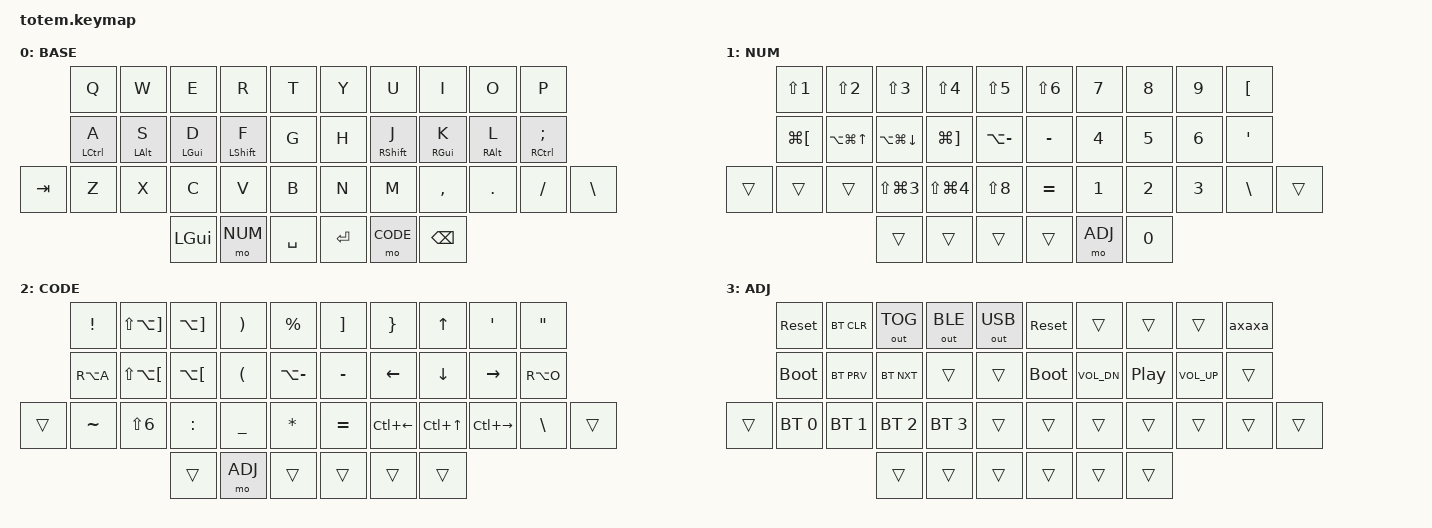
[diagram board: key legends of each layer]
//
//                                                        ▀▀▀▀▀     ▀▀▀▀▀          ▀▀█▀▀
//                                                        ▄▀▀▀▄  ▄  ▄▀▀▀▄  ▄  ▄▀▀▀▄  █  ▄▀▀▀▄
//                                                        █   █  █  █   █  █  █   █  █  █   █
//                                                         ▀▀▀   █   ▀▀▀   █   ▀▀▀   ▀   ▀▀▀
//                                                               █      ▄▄▄█▄▄▄    █   █  
//                                                               ▀      █  █  █     █▄█
//                                                             ▀▀▀▀▀    █  █  █      ▀
//                                                                      ▀  ▀  ▀
//
// ▄▄▄▄▄▄▄▄▄▄▄▄▄▄▄▄▄▄▄▄▄▄▄▄▄▄▄▄▄▄▄▄▄▄▄▄▄▄▄▄▄▄▄▄▄▄▄▄▄▄▄▄▄▄▄▄▄▄▄▄▄▄▄▄▄▄▄▄▄▄▄▄▄▄▄▄▄▄▄▄▄▄▄▄▄▄▄▄▄▄▄▄▄▄▄▄▄▄▄▄▄▄▄▄▄▄▄▄▄▄▄▄▄▄▄▄▄▄▄▄▄▄▄▄▄▄▄▄▄▄▄▄▄▄▄▄▄▄▄▄▄▄▄▄▄▄▄▄▄
       

#include <behaviors.dtsi>
#include <dt-bindings/zmk/keys.h>
#include <dt-bindings/zmk/bt.h>
#include <dt-bindings/zmk/outputs.h>

#define BASE 0
#define NUM  1
#define CODE  2
#define ADJ  3

&mt {
  quick-tap-ms = <100>;
  global-quick-tap;
  flavor = "tap-preferred";
  tapping-term-ms = <170>;
};

/ {
     combos {
            compatible = "zmk,combos";
            combo_esc {
                timeout-ms = <50>;
                key-positions = <0 1>;
                bindings = <&kp ESC>;
            };
            combo_change_lang {
                timeout-ms = <50>;
                key-positions = <2 3>;
                bindings = <&change_lang>;
            };
    };

    macros {
        axaxa: axaxa {
            label = "axaxa";
            compatible = "zmk,behavior-macro";
            #binding-cells = <0>;
            bindings
                = <&macro_tap &kp F &kp LBKT &kp F &kp LBKT &kp F &kp LBKT &kp F &kp LBKT &kp F &kp LBKT>
                ;
        };
        change_lang: change_lang {
            label = "change_lang";
            compatible = "zmk,behavior-macro";
            #binding-cells = <0>;
                bindings
                = <&macro_press &kp LGUI>
                , <&macro_tap &kp SPACE>
                , <&macro_release &kp LGUI>
                ;
        };
    };

        keymap {
                compatible = "zmk,keymap";
// ▄▄▄▄▄▄▄▄▄▄▄▄▄▄▄▄▄▄▄▄▄▄▄▄▄▄▄▄▄▄▄▄▄▄▄▄▄▄▄▄▄▄▄▄▄▄▄▄▄▄▄▄▄▄▄▄▄▄▄▄▄▄▄▄▄▄▄▄▄▄▄▄▄▄▄▄▄▄▄▄▄▄▄▄▄▄▄▄▄▄▄▄▄▄▄▄▄▄▄▄▄▄▄▄▄▄▄▄▄▄▄▄▄▄▄▄▄▄▄▄▄▄▄▄▄▄▄▄▄▄▄▄▄▄▄▄▄▄▄▄▄▄▄▄▄▄▄▄▄

                base_layer {
// ┏━━━━━━━━━━━━━━━━━━━━━━━━━━━━━━━━━━━━━━━┓
label= "BASE"                              ;
// ┗━━━━━━━━━━━━━━━━━━━━━━━━━━━━━━━━━━━━━━━┛
//             ┏━━━━━━━━━━━┳━━━━━━━━━━━┳━━━━━━━━━━━┳━━━━━━━━━━━┳━━━━━━━━━━━┓   ┏━━━━━━━━━━━┳━━━━━━━━━━━┳━━━━━━━━━━━┳━━━━━━━━━━━┳━━━━━━━━━━━┓
//             ┃     Q     ┃     W     ┃     F     ┃     P     ┃     G     ┃   ┃     J     ┃     L     ┃     U     ┃     Y     ┃     ;     ┃
//             ┣━━━━━━━━━━━╋━━━━━━━━━━━╋━━━━━━━━━━━╋━━━━━━━━━━━╋━━━━━━━━━━━┫   ┣━━━━━━━━━━━╋━━━━━━━━━━━╋━━━━━━━━━━━╋━━━━━━━━━━━╋━━━━━━━━━━━┫
//             ┃     A     ┃     R     ┃     S     ┃     T     ┃     D     ┃   ┃     H     ┃     N     ┃     E     ┃     I     ┃     O     ┃
// ┏━━━━━━━━━━━╋━━━━━━━━━━━╋━━━━━━━━━━━╋━━━━━━━━━━━╋━━━━━━━━━━━╋━━━━━━━━━━━┫   ┣━━━━━━━━━━━╋━━━━━━━━━━━╋━━━━━━━━━━━╋━━━━━━━━━━━╋━━━━━━━━━━━╋━━━━━━━━━━━┓
// ┃     Q     ┃     Z     ┃     X     ┃     C     ┃     V     ┃     B     ┃   ┃     K     ┃     M     ┃     ,     ┃     .     ┃     /     ┃     \     ┃
// ┗━━━━━━━━━━━┻━━━━━━━━━━━┻━━━━━━━━━━━╋━━━━━━━━━━━╋━━━━━━━━━━━╋━━━━━━━━━━━┫   ┣━━━━━━━━━━━╋━━━━━━━━━━━╋━━━━━━━━━━━╋━━━━━━━━━━━┻━━━━━━━━━━━┻━━━━━━━━━━━┛
//                                     ┃    DEL    ┃    TAB    ┃    SPC    ┃   ┃   ENTER   ┃           ┃   BSPC    ┃
//                                     ┗━━━━━━━━━━━┻━━━━━━━━━━━┻━━━━━━━━━━━┛   ┗━━━━━━━━━━━┻━━━━━━━━━━━┻━━━━━━━━━━━┛
 bindings = <
// ╷           ╷           ╷           ╷           ╷           ╷           ╷   ╷           ╷           ╷           ╷           ╷           ╷           ╷

                &kp Q       &kp W       &kp E      &kp R       &kp T            &kp Y       &kp U       &kp I       &kp O       &kp P
                &mt LCTRL A  &mt LALT S  &mt LGUI D &mt LSHFT F &kp G           &kp H       &mt RSHFT J &mt RGUI K &mt RALT L   &mt RCTRL SEMI
&kp TAB     &kp Z       &kp X       &kp C       &kp V       &kp B               &kp N       &kp M       &kp COMMA   &kp DOT     &kp SLASH  &kp BSLH
                                        &kp LGUI   &mo NUM   &kp SPACE          &kp RET     &mo CODE    &kp BSPC
                        >;
                };

// ▄▄▄▄▄▄▄▄▄▄▄▄▄▄▄▄▄▄▄▄▄▄▄▄▄▄▄▄▄▄▄▄▄▄▄▄▄▄▄▄▄▄▄▄▄▄▄▄▄▄▄▄▄▄▄▄▄▄▄▄▄▄▄▄▄▄▄▄▄▄▄▄▄▄▄▄▄▄▄▄▄▄▄▄▄▄▄▄▄▄▄▄▄▄▄▄▄▄▄▄▄▄▄▄▄▄▄▄▄▄▄▄▄▄▄▄▄▄▄▄▄▄▄▄▄▄▄▄▄▄▄▄▄▄▄▄▄▄▄▄▄▄▄▄▄▄▄▄▄


                nav_layer {
label= "NUM";
 bindings = <
// ╷           ╷           ╷           ╷           ╷           ╷           ╷   ╷           ╷           ╷           ╷           ╷           ╷           ╷

                &kp LS(N1)  &kp LS(N2)  &kp LS(N3)  &kp LS(N4)  &kp LS(N5)       &kp LS(N6)  &kp N7   &kp N8   &kp N9   &kp LBKT
                &kp LG(LBKT) &kp LA(LG(UP)) &kp LA(LG(DOWN)) &kp LG(RBKT)   &kp LA(MINUS) &kp MINUS   &kp N4   &kp N5   &kp N6   &kp SQT
    &trans      &trans     &trans   &kp LS(LG(N3)) &kp LS(LG(N4)) &kp LS(N8)   &kp EQUAL   &kp N1   &kp N2   &kp N3    &kp BSLH  &trans      
                                        &trans      &trans      &trans          &trans       &mo ADJ     &kp N0      
                        >;
                };

// ▄▄▄▄▄▄▄▄▄▄▄▄▄▄▄▄▄▄▄▄▄▄▄▄▄▄▄▄▄▄▄▄▄▄▄▄▄▄▄▄▄▄▄▄▄▄▄▄▄▄▄▄▄▄▄▄▄▄▄▄▄▄▄▄▄▄▄▄▄▄▄▄▄▄▄▄▄▄▄▄▄▄▄▄▄▄▄▄▄▄▄▄▄▄▄▄▄▄▄▄▄▄▄▄▄▄▄▄▄▄▄▄▄▄▄▄▄▄▄▄▄▄▄▄▄▄▄▄▄▄▄▄▄▄▄▄▄▄▄▄▄▄▄▄▄▄▄▄▄


                code_layer {
label= "CODE";
 bindings = <
// ╷           ╷           ╷           ╷           ╷           ╷           ╷   ╷           ╷           ╷           ╷           ╷           ╷           ╷

                &kp EXCL    &kp LS(LA(RBKT)) &kp LA(RBKT)  &kp RPAR     &kp PRCNT          &kp RBKT   &kp RBRC     &kp UP     &kp SQT     &kp DQT       
                &kp RA(A)   &kp LS(LA(LBKT)) &kp LA(LBKT)  &kp LPAR     &kp LA(MINUS)      &kp MINUS  &kp LEFT     &kp DOWN   &kp RIGHT   &kp RA(O) 
    &trans      &kp TILDE   &kp LS(N6)    &kp COLON     &kp UNDER    &kp ASTRK          &kp EQUAL  &kp LC(LEFT) &kp LC(UP) &kp LC(RIGHT)  &kp BSLH   &trans         
                                          &trans      &mo ADJ     &trans                  &trans      &trans    &trans      
                        >;
                };

// ▄▄▄▄▄▄▄▄▄▄▄▄▄▄▄▄▄▄▄▄▄▄▄▄▄▄▄▄▄▄▄▄▄▄▄▄▄▄▄▄▄▄▄▄▄▄▄▄▄▄▄▄▄▄▄▄▄▄▄▄▄▄▄▄▄▄▄▄▄▄▄▄▄▄▄▄▄▄▄▄▄▄▄▄▄▄▄▄▄▄▄▄▄▄▄▄▄▄▄▄▄▄▄▄▄▄▄▄▄▄▄▄▄▄▄▄▄▄▄▄▄▄▄▄▄▄▄▄▄▄▄▄▄▄▄▄▄▄▄▄▄▄▄▄▄▄▄▄▄


                adjust_layer {
// ┏━━━━━━━━━━━━━━━━━━━━━━━━━━━━━━━━━━━━━━━┓
label= "ADJ"                               ;
// ┗━━━━━━━━━━━━━━━━━━━━━━━━━━━━━━━━━━━━━━━┛
//             ┏━━━━━━━━━━━┳━━━━━━━━━━━┳━━━━━━━━━━━┳━━━━━━━━━━━┳━━━━━━━━━━━┓   ┏━━━━━━━━━━━┳━━━━━━━━━━━┳━━━━━━━━━━━┳━━━━━━━━━━━┳━━━━━━━━━━━┓
//             ┃   RESET   ┃ BT CLEAR  ┃  OUT TOG  ┃           ┃           ┃   ┃           ┃    F7     ┃    F8     ┃    F9     ┃    F12    ┃
//             ┣━━━━━━━━━━━╋━━━━━━━━━━━╋━━━━━━━━━━━╋━━━━━━━━━━━╋━━━━━━━━━━━┫   ┣━━━━━━━━━━━╋━━━━━━━━━━━╋━━━━━━━━━━━╋━━━━━━━━━━━╋━━━━━━━━━━━┫
//             ┃ BOOTLOAD  ┃ BT PREV   ┃  BT NEXT  ┃           ┃           ┃   ┃           ┃    F4     ┃    F5     ┃    F6     ┃    F11    ┃
// ┏━━━━━━━━━━━╋━━━━━━━━━━━╋━━━━━━━━━━━╋━━━━━━━━━━━╋━━━━━━━━━━━╋━━━━━━━━━━━┫   ┣━━━━━━━━━━━╋━━━━━━━━━━━╋━━━━━━━━━━━╋━━━━━━━━━━━╋━━━━━━━━━━━╋━━━━━━━━━━━┓
// ┃           ┃           ┃           ┃           ┃           ┃           ┃   ┃           ┃    F1     ┃    F2     ┃    F3     ┃    F10    ┃           ┃
// ┗━━━━━━━━━━━┻━━━━━━━━━━━┻━━━━━━━━━━━╋━━━━━━━━━━━╋━━━━━━━━━━━╋━━━━━━━━━━━┫   ┣━━━━━━━━━━━╋━━━━━━━━━━━╋━━━━━━━━━━━╋━━━━━━━━━━━┻━━━━━━━━━━━┻━━━━━━━━━━━┛
//                                     ┃           ┃           ┃           ┃   ┃           ┃           ┃           ┃
//                                     ┗━━━━━━━━━━━┻━━━━━━━━━━━┻━━━━━━━━━━━┛   ┗━━━━━━━━━━━┻━━━━━━━━━━━┻━━━━━━━━━━━┛
 bindings = <
// ╷           ╷           ╷           ╷           ╷           ╷           ╷   ╷           ╷           ╷           ╷           ╷           ╷           ╷

                &sys_reset   &bt BT_CLR   &out OUT_TOG &out OUT_BLE  &out OUT_USB    &sys_reset      &trans             &trans        &trans         &axaxa
                &bootloader  &bt BT_PRV   &bt BT_NXT   &trans        &trans          &bootloader      &kp C_VOL_DN      &kp C_PP      &kp C_VOL_UP   &trans  
    &trans      &bt BT_SEL 0 &bt BT_SEL 1 &bt BT_SEL 2 &bt BT_SEL 3  &trans         &trans       &trans             &trans        &trans         &trans     &trans         
                                        &trans      &trans      &trans          &trans      &trans      &trans      
                        >;
                };
        };
};
